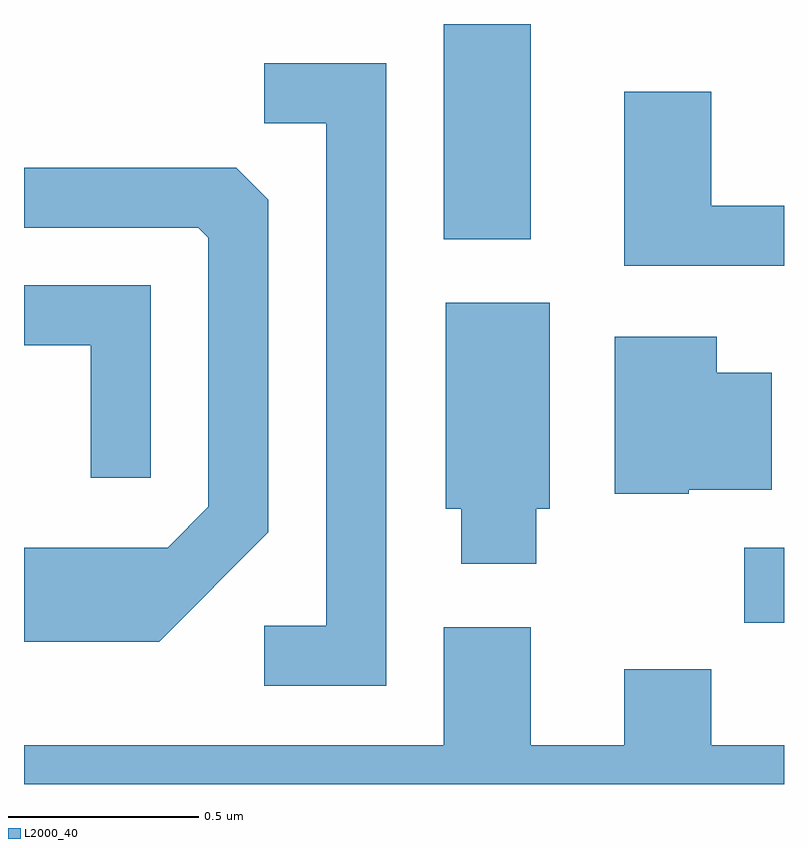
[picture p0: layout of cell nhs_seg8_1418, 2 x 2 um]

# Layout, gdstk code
import gdstk
lib = gdstk.Library(unit=1e-6, precision=1e-09)
def R(c, l, rs):  # rectangles x0, y0, x1, y1
    for r in rs: c.add(gdstk.rectangle(r[:2], r[2:], *l))
def P(c, l, *ps):  # polygons
    for p in ps: c.add(gdstk.Polygon(p, *l))
L2000_40 = (2000, 40)

nhs_seg8_1418 = lib.new_cell('nhs_seg8_1418')
R(nhs_seg8_1418, L2000_40, [(197.506,1854.766,197.611,1854.964), (196.716,1855.776,196.944,1856.342)])
P(nhs_seg8_1418, L2000_40, [(196.564,1856.239),(196.243,1856.239),(196.243,1856.081),(196.406,1856.081),(196.406,1854.759),(196.243,1854.759),(196.243,1854.601),(196.564,1854.601)],
  [(197.611,1855.864),(197.419,1855.864),(197.419,1856.164),(197.191,1856.164),(197.191,1855.706),(197.611,1855.706)],
  [(196.254,1855.004),(196.254,1855.879),(196.169,1855.964),(195.611,1855.964),(195.611,1855.806),(196.069,1855.806),(196.096,1855.779),(196.096,1855.072),(195.989,1854.964),(195.611,1854.964),(195.611,1854.716),(195.967,1854.716)],
  [(195.944,1855.654),(195.611,1855.654),(195.611,1855.496),(195.786,1855.496),(195.786,1855.148),(195.944,1855.148)],
  [(196.959,1855.066),(196.994,1855.066),(196.994,1855.609),(196.721,1855.609),(196.721,1855.066),(196.761,1855.066),(196.761,1854.921),(196.959,1854.921)],
  [(197.36,1855.116),(197.579,1855.116),(197.579,1855.424),(197.434,1855.424),(197.434,1855.519),(197.166,1855.519),(197.166,1855.106),(197.36,1855.106)],
  [(197.611,1854.444),(197.419,1854.444),(197.419,1854.644),(197.191,1854.644),(197.191,1854.444),(196.944,1854.444),(196.944,1854.754),(196.716,1854.754),(196.716,1854.444),(195.611,1854.444),(195.611,1854.342),(197.611,1854.342)])

lib.write_gds('nhs_seg8_1418.gds')
